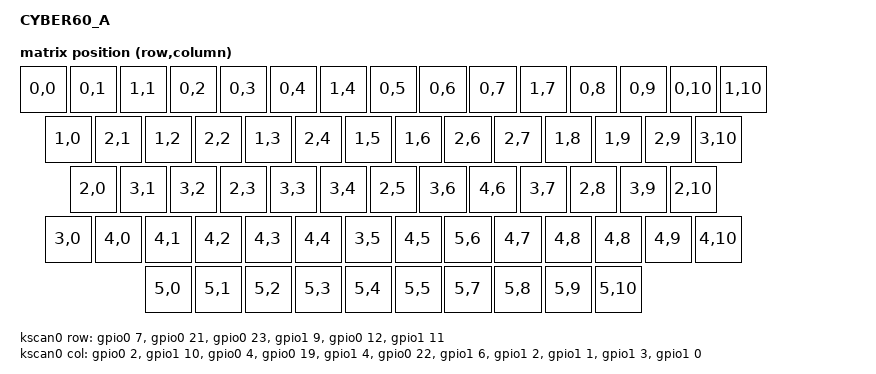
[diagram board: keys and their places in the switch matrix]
/*
 * Copyright (c) 2020 Stefan Sundin (4pplet)
 *
 * SPDX-License-Identifier: MIT
 */

/dts-v1/;
#include <nordic/nrf52840_qiaa.dtsi>
#include <dt-bindings/zmk/matrix-transform.h>
/ {
	model = "CYBER60_A";
	compatible = "cyber60", "Rev A";

	chosen {
		zephyr,code-partition = &code_partition;
		zephyr,sram = &sram0;
		zephyr,flash = &flash0;
		zmk,kscan = &kscan0;
		zmk,matrix_transform = &default_transform;
	};

	vbat-sense-en {
		label = "VBAT_SENSE_EN";
		control-gpios = <&gpio1 15 GPIO_ACTIVE_HIGH>;
	};

	vbatt { // need to figure out the resistances
		compatible = "zmk,battery-voltage-divider";
		label = "BATTERY";
		io-channels = <&adc 1>;
		output-ohms = <2000000>;
		full-ohms = <(2000000 + 806000)>;
	};

	leds {
		compatible = "gpio-leds";
		red_led: led_3 {
			gpios = <&gpio1 13 GPIO_ACTIVE_LOW>;
			label = "Red LED";
		};
		green_led: led_2 {
			gpios = <&gpio0 28 GPIO_ACTIVE_LOW>;
			label = "Green LED";
		};
		blue_led: led_1 { // also broken out on header con307 on cyber60-2 Rev A1
			gpios = <&gpio0 5 GPIO_ACTIVE_LOW>;
			label = "Blue LED";
		};
	};

	vbatt {
		compatible = "zmk,battery-voltage-divider";
		label = "BATTERY";
		io-channels = <&adc 1>;
		output-ohms = <100000>;
		full-ohms = <(100000 + 100000)>;
	};

	default_transform: keymap_transform_0 {
		compatible = "zmk,matrix-transform";
		columns = <11>;
		rows = <6>;
		map = <
RC(0,0) RC(0,1) RC(1,1) RC(0,2) RC(0,3) RC(0,4) RC(1,4) RC(0,5) RC(0,6) RC(0,7) RC(1,7) RC(0,8) RC(0,9) RC(0,10) RC(1,10)
RC(1,0)   RC(2,1) RC(1,2) RC(2,2) RC(1,3) RC(2,4) RC(1,5) RC(1,6) RC(2,6) RC(2,7) RC(1,8) RC(1,9) RC(2,9)   RC(3,10)
RC(2,0)     RC(3,1) RC(3,2) RC(2,3) RC(3,3) RC(3,4) RC(2,5) RC(3,6) RC(4,6) RC(3,7) RC(2,8) RC(3,9)          RC(2,10)
RC(3,0)       RC(4,0) RC(4,1) RC(4,2) RC(4,3) RC(4,4) RC(3,5) RC(4,5) RC(5,6) RC(4,7)    RC(4,8)     RC(4,8) RC(4,9) RC(4,10)
RC(5,0)   RC(5,1)   RC(5,2)  RC(5,3)                    RC(5,4)                     RC(5,5) RC(5,7) RC(5,8) RC(5,9) RC(5,10)
		>;
	};

	kscan0: kscan {
		compatible = "zmk,kscan-gpio-matrix";
		label = "KSCAN";

		diode-direction = "col2row";
		row-gpios
			= <&gpio0 7  (GPIO_ACTIVE_HIGH | GPIO_PULL_DOWN)>
			, <&gpio0 21 (GPIO_ACTIVE_HIGH | GPIO_PULL_DOWN)>
			, <&gpio0 23 (GPIO_ACTIVE_HIGH | GPIO_PULL_DOWN)>
			, <&gpio1 9 (GPIO_ACTIVE_HIGH | GPIO_PULL_DOWN)>
			, <&gpio0 12 (GPIO_ACTIVE_HIGH | GPIO_PULL_DOWN)>
			, <&gpio1 11 (GPIO_ACTIVE_HIGH | GPIO_PULL_DOWN)>
			;
		col-gpios
			= <&gpio0 2  GPIO_ACTIVE_HIGH>
			, <&gpio1 10  GPIO_ACTIVE_HIGH>
			, <&gpio0 4  GPIO_ACTIVE_HIGH>
			, <&gpio0 19 GPIO_ACTIVE_HIGH>
			, <&gpio1 4 GPIO_ACTIVE_HIGH>
			, <&gpio0 22  GPIO_ACTIVE_HIGH>
			, <&gpio1 6 GPIO_ACTIVE_HIGH>
			, <&gpio1 2  GPIO_ACTIVE_HIGH>
			, <&gpio1 1  GPIO_ACTIVE_HIGH>
			, <&gpio1 3  GPIO_ACTIVE_HIGH>
			, <&gpio1 0  GPIO_ACTIVE_HIGH>
			;
	};
};

&gpio0 {
	status = "okay";
};

&gpio1 {
	status = "okay";
};

&adc {
	status = "okay";
};

&usbd {
	status = "okay";
};


&flash0 {
	/*
	 * For more information, see:
	 * http://docs.zephyrproject.org/latest/devices/dts/flash_partitions.html
	 */
	partitions {
		compatible = "fixed-partitions";
		#address-cells = <1>;
		#size-cells = <1>;

		boot_partition: partition@0 {
			label = "adafruit_boot";
			reg = <0x000000000 0x0000C000>;
		};
		code_partition: partition@26000 {
			label = "code_partition";
			reg = <0x00026000 0x000d2000>;
		};

		/*
		 * The flash starting at 0x000f8000 and ending at
		 * 0x000fffff is reserved for use by the application.
		 */

		/*
		 * Storage partition will be used by FCB/LittleFS/NVS
		 * if enabled.
		 */
		storage_partition: partition@f8000 {
			label = "storage";
			reg = <0x000f8000 0x00008000>;
		};
	};
};
